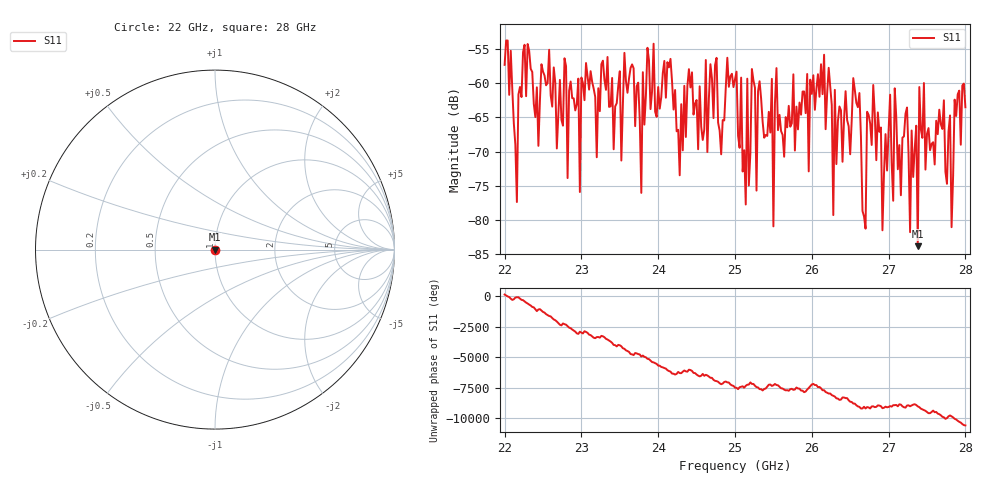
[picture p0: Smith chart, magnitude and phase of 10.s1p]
#  HZ  S  RI  R  50.00
! Rohde & Schwarz ZVA40 4Ports - Version 3.90 - 1145.1110k42 SN: 100403
! Date: 2023-10-04 09:35:42
! Measurement: S12
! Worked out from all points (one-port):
!   301 points, 22 GHz to 28 GHz, reference 50 ohm
!   lowest |S11| = -83.8 dB at 27.38 GHz (marker M1), VSWR 1.00, Z = 50 - j0.00209 ohm
!   |S11| at or under -10 dB: start of sweep to end of sweep
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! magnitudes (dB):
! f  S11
! 22 GHz  -57.3
! 22.16 GHz  -77.4
! 22.26 GHz  -54.4
! 22.76 GHz  -66.2
! 23.5 GHz  -58.2
! 23.52 GHz  -71.3
! 23.56 GHz  -55.5
! 23.74 GHz  -59.9
! 23.78 GHz  -76.0
! 23.86 GHz  -54.8
! 24.26 GHz  -66.8
! 25 GHz  -59.4
! 25.14 GHz  -77.7
! 25.16 GHz  -59.3
! 25.18 GHz  -75.0
! 25.28 GHz  -75.7
! 25.48 GHz  -59.3
! 25.5 GHz  -80.9
! 25.54 GHz  -57.8
! 25.76 GHz  -58.7
! 26.5 GHz  -70.4
! 27.26 GHz  -70.5
! 27.38 GHz  -83.8
! 27.4 GHz  -60.5
! 27.8 GHz  -64.7
! 27.82 GHz  -81.0
! 27.86 GHz  -62.4
! 28 GHz  -63.5
